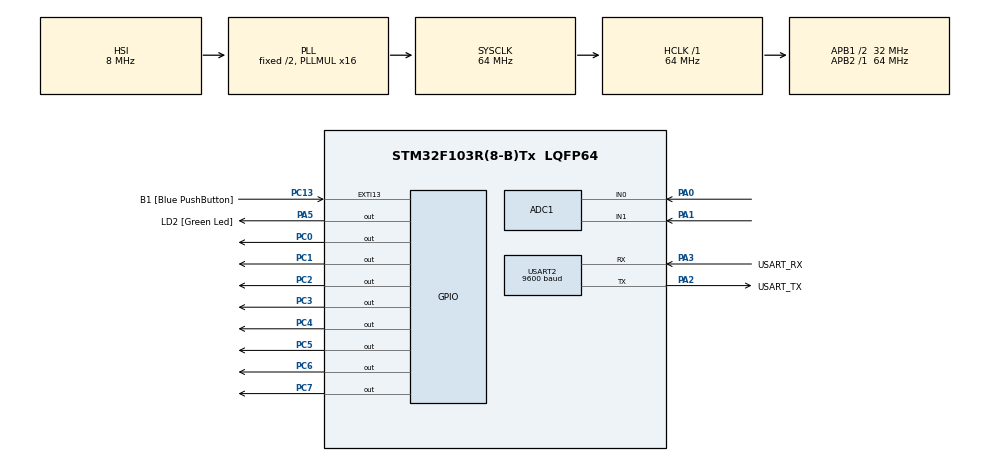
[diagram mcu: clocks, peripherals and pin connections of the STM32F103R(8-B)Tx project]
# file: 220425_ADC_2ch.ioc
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ADC1.Channel-10\#ChannelRegularConversion=ADC_CHANNEL_1
ADC1.Channel-9\#ChannelRegularConversion=ADC_CHANNEL_0
ADC1.DiscontinuousConvMode=ENABLE
ADC1.NbrOfConversion=2
ADC1.NbrOfConversionFlag=1
ADC1.NbrOfDiscConversion=1
ADC1.Rank-10\#ChannelRegularConversion=2
ADC1.Rank-9\#ChannelRegularConversion=1
ADC1.SamplingTime-10\#ChannelRegularConversion=ADC_SAMPLETIME_239CYCLES_5
ADC1.SamplingTime-9\#ChannelRegularConversion=ADC_SAMPLETIME_239CYCLES_5
ADC1.master=1
Mcu.Family=STM32F1
Mcu.Name=STM32F103R(8-B)Tx
Mcu.Package=LQFP64
NVIC.EXTI15_10_IRQn=true\:0\:0\:false\:false\:true\:true\:true\:true
NVIC.PriorityGroup=NVIC_PRIORITYGROUP_4
PA0-WKUP.Signal=ADCx_IN0
PA1.Signal=ADCx_IN1
PA13.GPIO_Label=TMS
PA13.Mode=Serial_Wire
PA13.Signal=SYS_JTMS-SWDIO
PA14.GPIO_Label=TCK
PA14.Mode=Serial_Wire
PA14.Signal=SYS_JTCK-SWCLK
PA2.GPIO_Label=USART_TX
PA2.GPIO_Mode=GPIO_MODE_AF_PP
PA2.GPIO_PuPd=GPIO_NOPULL
PA2.GPIO_Speed=GPIO_SPEED_FREQ_LOW
PA2.Mode=Asynchronous
PA2.Signal=USART2_TX
PA3.GPIO_Label=USART_RX
PA3.GPIO_Mode=GPIO_MODE_AF_PP
PA3.GPIO_PuPd=GPIO_NOPULL
PA3.GPIO_Speed=GPIO_SPEED_FREQ_LOW
PA3.Mode=Asynchronous
PA3.Signal=USART2_RX
PA5.GPIO_Label=LD2 [Green Led]
PA5.GPIO_ModeDefaultOutputPP=GPIO_MODE_OUTPUT_PP
PA5.GPIO_PuPd=GPIO_NOPULL
PA5.GPIO_Speed=GPIO_SPEED_FREQ_LOW
PA5.Signal=GPIO_Output
PB3.GPIO_Label=SWO
PB3.Signal=SYS_JTDO-TRACESWO
PC0.Signal=GPIO_Output
PC1.Signal=GPIO_Output
PC13-TAMPER-RTC.GPIO_Label=B1 [Blue PushButton]
PC13-TAMPER-RTC.GPIO_PuPd=GPIO_NOPULL
PC13-TAMPER-RTC.Signal=GPXTI13
PC14-OSC32_IN.Mode=LSE-External-Oscillator
PC14-OSC32_IN.Signal=RCC_OSC32_IN
PC15-OSC32_OUT.Mode=LSE-External-Oscillator
PC15-OSC32_OUT.Signal=RCC_OSC32_OUT
PC2.Signal=GPIO_Output
PC3.Signal=GPIO_Output
PC4.Signal=GPIO_Output
PC5.Signal=GPIO_Output
PC6.Signal=GPIO_Output
PC7.Signal=GPIO_Output
PD0-OSC_IN.Mode=HSE-External-Clock-Source
PD0-OSC_IN.Signal=RCC_OSC_IN
PD1-OSC_OUT.Mode=HSE-External-Clock-Source
PD1-OSC_OUT.Signal=RCC_OSC_OUT
ProjectManager.HeapSize=0x200
ProjectManager.StackSize=0x400
ProjectManager.TargetToolchain=STM32CubeIDE
RCC.ADCPresc=RCC_ADCPCLK2_DIV8
RCC.AHBFreq_Value=64000000
RCC.APB1CLKDivider=RCC_HCLK_DIV2
RCC.APB1Freq_Value=32000000
RCC.APB1TimFreq_Value=64000000
RCC.APB2Freq_Value=64000000
RCC.APB2TimFreq_Value=64000000
RCC.HCLKFreq_Value=64000000
RCC.PLLMUL=RCC_PLL_MUL16
RCC.RTCClockSelection=RCC_RTCCLKSOURCE_LSE
RCC.SYSCLKFreq_VALUE=64000000
RCC.SYSCLKSource=RCC_SYSCLKSOURCE_PLLCLK
RCC.USBFreq_Value=64000000
SH.ADCx_IN0.0=ADC1_IN0,IN0
SH.ADCx_IN1.0=ADC1_IN1,IN1
USART2.BaudRate=9600
USART2.VirtualMode=VM_ASYNC
board=NUCLEO-F103RB

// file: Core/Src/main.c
/* USER CODE BEGIN Header */
/**
  ******************************************************************************
  * @file           : main.c
  * @brief          : Main program body
  ******************************************************************************
  * @attention
  *
  * Copyright (c) 2022 STMicroelectronics.
  * All rights reserved.
  *
  * This software is licensed under terms that can be found in the LICENSE file
  * in the root directory of this software component.
  * If no LICENSE file comes with this software, it is provided AS-IS.
  *
  ******************************************************************************
  */
/* USER CODE END Header */
#include "main.h"

 ADC_HandleTypeDef hadc1;

UART_HandleTypeDef huart2;

/* USER CODE BEGIN PV */
uint32_t potentiometer = 0;
uint32_t temp_sensor = 0;
/* USER CODE END PV */

void SystemClock_Config(void);
static void MX_GPIO_Init(void);
static void MX_USART2_UART_Init(void);
static void MX_ADC1_Init(void);
/* USER CODE BEGIN PFP */
void SystemClock_Config(void);
static void MX_GPIO_Init(void);
static void MX_USART2_UART_Init(void);
static void MX_ADC1_Init(void);
/* USER CODE BEGIN PFP */
#ifdef __GNUC__
/* With GCC, small printf (option LD Linker->Libraries->Small printf
 set to 'Yes') calls __io_putchar() */
#define PUTCHAR_PROTOTYPE int __io_putchar(int ch)
#else
#define PUTCHAR_PROTOTYPE int fputc(int ch, FILE *f)
#endif /* __GNUC__ */
PUTCHAR_PROTOTYPE {
	/* Place your implementation of fputc here */
	/* e.g. write a character to the USART1 and Loop until the end of transmission */
	HAL_UART_Transmit(&huart2, (uint8_t*) &ch, 1, 0xFFFF);

	return ch;
}
/* USER CODE END PFP */

int main(void)
{

  /* MCU Configuration--------------------------------------------------------*/

  /* Reset of all peripherals, Initializes the Flash interface and the Systick. */
  HAL_Init();

  /* Configure the system clock */
  SystemClock_Config();

  /* Initialize all configured peripherals */
  MX_GPIO_Init();
  MX_USART2_UART_Init();
  MX_ADC1_Init();
  /* USER CODE BEGIN 2 */
  HAL_ADC_Start(&hadc1);
  /* USER CODE END 2 */

  /* Infinite loop */
  /* USER CODE BEGIN WHILE */
  while (1)
  {
	  HAL_ADC_Start(&hadc1);
	  HAL_ADC_PollForConversion(&hadc1, 100);
	  potentiometer = HAL_ADC_GetValue(&hadc1);
	  HAL_ADC_Start(&hadc1);
	  HAL_ADC_PollForConversion(&hadc1, 100);
	  temp_sensor = HAL_ADC_GetValue(&hadc1);
	  printf("potentionmeter = %d\t, temp sensor = %d\n\r", potentiometer, temp_sensor);
	  HAL_Delay(1000);
    /* USER CODE END WHILE */

  }
}

void SystemClock_Config(void)
{
  RCC_OscInitTypeDef RCC_OscInitStruct = {0};
  RCC_ClkInitTypeDef RCC_ClkInitStruct = {0};
  RCC_PeriphCLKInitTypeDef PeriphClkInit = {0};

  /** Initializes the RCC Oscillators according to the specified parameters
  * in the RCC_OscInitTypeDef structure.
  */
  RCC_OscInitStruct.OscillatorType = RCC_OSCILLATORTYPE_HSI;
  RCC_OscInitStruct.HSIState = RCC_HSI_ON;
  RCC_OscInitStruct.HSICalibrationValue = RCC_HSICALIBRATION_DEFAULT;
  RCC_OscInitStruct.PLL.PLLState = RCC_PLL_ON;
  RCC_OscInitStruct.PLL.PLLSource = RCC_PLLSOURCE_HSI_DIV2;
  RCC_OscInitStruct.PLL.PLLMUL = RCC_PLL_MUL16;
  if (HAL_RCC_OscConfig(&RCC_OscInitStruct) != HAL_OK)
  {
    Error_Handler();
  }

  /** Initializes the CPU, AHB and APB buses clocks
  */
  RCC_ClkInitStruct.ClockType = RCC_CLOCKTYPE_HCLK|RCC_CLOCKTYPE_SYSCLK
                              |RCC_CLOCKTYPE_PCLK1|RCC_CLOCKTYPE_PCLK2;
  RCC_ClkInitStruct.SYSCLKSource = RCC_SYSCLKSOURCE_PLLCLK;
  RCC_ClkInitStruct.AHBCLKDivider = RCC_SYSCLK_DIV1;
  RCC_ClkInitStruct.APB1CLKDivider = RCC_HCLK_DIV2;
  RCC_ClkInitStruct.APB2CLKDivider = RCC_HCLK_DIV1;

  if (HAL_RCC_ClockConfig(&RCC_ClkInitStruct, FLASH_LATENCY_2) != HAL_OK)
  {
    Error_Handler();
  }
  PeriphClkInit.PeriphClockSelection = RCC_PERIPHCLK_ADC;
  PeriphClkInit.AdcClockSelection = RCC_ADCPCLK2_DIV8;
  if (HAL_RCCEx_PeriphCLKConfig(&PeriphClkInit) != HAL_OK)
  {
    Error_Handler();
  }
}

static void MX_ADC1_Init(void)
{

  ADC_ChannelConfTypeDef sConfig = {0};

  /** Common config
  */
  hadc1.Instance = ADC1;
  hadc1.Init.ScanConvMode = ADC_SCAN_ENABLE;
  hadc1.Init.ContinuousConvMode = DISABLE;
  hadc1.Init.DiscontinuousConvMode = ENABLE;
  hadc1.Init.NbrOfDiscConversion = 1;
  hadc1.Init.ExternalTrigConv = ADC_SOFTWARE_START;
  hadc1.Init.DataAlign = ADC_DATAALIGN_RIGHT;
  hadc1.Init.NbrOfConversion = 2;
  if (HAL_ADC_Init(&hadc1) != HAL_OK)
  {
    Error_Handler();
  }

  /** Configure Regular Channel
  */
  sConfig.Channel = ADC_CHANNEL_0;
  sConfig.Rank = ADC_REGULAR_RANK_1;
  sConfig.SamplingTime = ADC_SAMPLETIME_239CYCLES_5;
  if (HAL_ADC_ConfigChannel(&hadc1, &sConfig) != HAL_OK)
  {
    Error_Handler();
  }

  /** Configure Regular Channel
  */
  sConfig.Channel = ADC_CHANNEL_1;
  sConfig.Rank = ADC_REGULAR_RANK_2;
  if (HAL_ADC_ConfigChannel(&hadc1, &sConfig) != HAL_OK)
  {
    Error_Handler();
  }

}

static void MX_USART2_UART_Init(void)
{

  huart2.Instance = USART2;
  huart2.Init.BaudRate = 9600;
  huart2.Init.WordLength = UART_WORDLENGTH_8B;
  huart2.Init.StopBits = UART_STOPBITS_1;
  huart2.Init.Parity = UART_PARITY_NONE;
  huart2.Init.Mode = UART_MODE_TX_RX;
  huart2.Init.HwFlowCtl = UART_HWCONTROL_NONE;
  huart2.Init.OverSampling = UART_OVERSAMPLING_16;
  if (HAL_UART_Init(&huart2) != HAL_OK)
  {
    Error_Handler();
  }

}

static void MX_GPIO_Init(void)
{
  GPIO_InitTypeDef GPIO_InitStruct = {0};

  /* GPIO Ports Clock Enable */
  __HAL_RCC_GPIOC_CLK_ENABLE();
  __HAL_RCC_GPIOD_CLK_ENABLE();
  __HAL_RCC_GPIOA_CLK_ENABLE();
  __HAL_RCC_GPIOB_CLK_ENABLE();

  /*Configure GPIO pin Output Level */
  HAL_GPIO_WritePin(GPIOC, GPIO_PIN_0|GPIO_PIN_1|GPIO_PIN_2|GPIO_PIN_3
                          |GPIO_PIN_4|GPIO_PIN_5|GPIO_PIN_6|GPIO_PIN_7, GPIO_PIN_RESET);

  /*Configure GPIO pin Output Level */
  HAL_GPIO_WritePin(LD2_GPIO_Port, LD2_Pin, GPIO_PIN_RESET);

  /*Configure GPIO pin : B1_Pin */
  GPIO_InitStruct.Pin = B1_Pin;
  GPIO_InitStruct.Mode = GPIO_MODE_IT_RISING;
  GPIO_InitStruct.Pull = GPIO_NOPULL;
  HAL_GPIO_Init(B1_GPIO_Port, &GPIO_InitStruct);

  /*Configure GPIO pins : PC0 PC1 PC2 PC3
                           PC4 PC5 PC6 PC7 */
  GPIO_InitStruct.Pin = GPIO_PIN_0|GPIO_PIN_1|GPIO_PIN_2|GPIO_PIN_3
                          |GPIO_PIN_4|GPIO_PIN_5|GPIO_PIN_6|GPIO_PIN_7;
  GPIO_InitStruct.Mode = GPIO_MODE_OUTPUT_PP;
  GPIO_InitStruct.Pull = GPIO_NOPULL;
  GPIO_InitStruct.Speed = GPIO_SPEED_FREQ_LOW;
  HAL_GPIO_Init(GPIOC, &GPIO_InitStruct);

  /*Configure GPIO pin : LD2_Pin */
  GPIO_InitStruct.Pin = LD2_Pin;
  GPIO_InitStruct.Mode = GPIO_MODE_OUTPUT_PP;
  GPIO_InitStruct.Pull = GPIO_NOPULL;
  GPIO_InitStruct.Speed = GPIO_SPEED_FREQ_LOW;
  HAL_GPIO_Init(LD2_GPIO_Port, &GPIO_InitStruct);

  /* EXTI interrupt init*/
  HAL_NVIC_SetPriority(EXTI15_10_IRQn, 0, 0);
  HAL_NVIC_EnableIRQ(EXTI15_10_IRQn);

}

void Error_Handler(void)
{
  __disable_irq();
  while (1)
  {
  }
}
